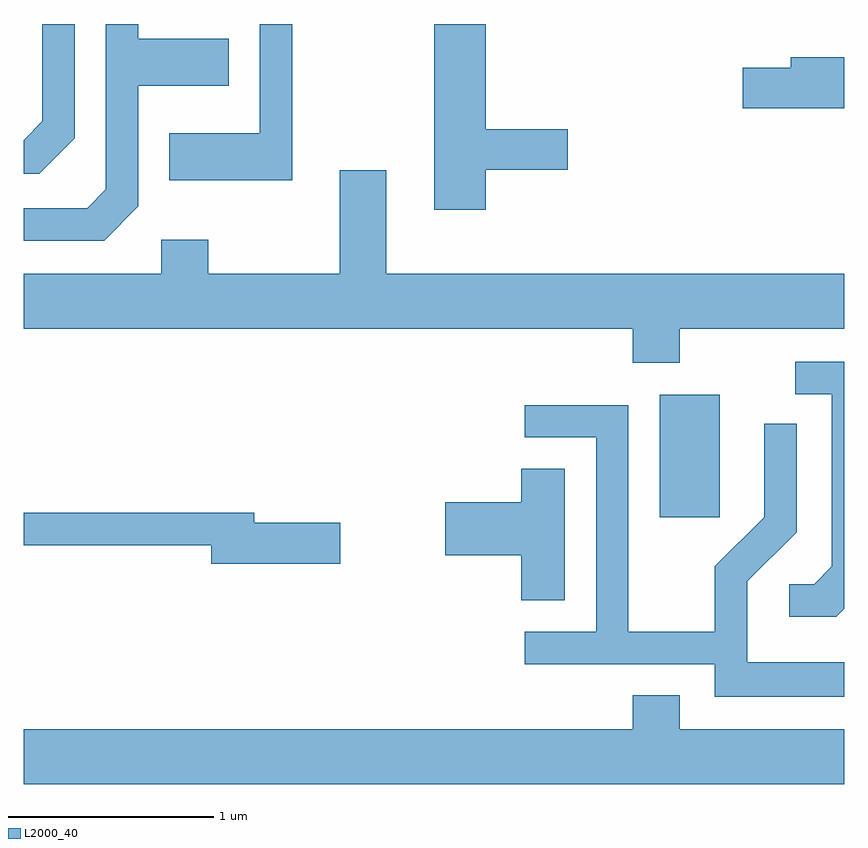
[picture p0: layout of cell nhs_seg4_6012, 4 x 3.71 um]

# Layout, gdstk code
import gdstk
lib = gdstk.Library(unit=1e-6, precision=1e-09)
def R(c, l, rs):  # rectangles x0, y0, x1, y1
    for r in rs: c.add(gdstk.rectangle(r[:2], r[2:], *l))
def P(c, l, *ps):  # polygons
    for p in ps: c.add(gdstk.Polygon(p, *l))
L2000_40 = (2000, 40)

nhs_seg4_6012 = lib.new_cell('nhs_seg4_6012')
R(nhs_seg4_6012, L2000_40, [(364.711,1311.576,365.004,1312.174)])
P(nhs_seg4_6012, L2000_40, [(362.169,1313.094),(362.169,1313.681),(362.609,1313.681),(362.609,1313.909),(362.169,1313.909),(362.169,1313.982),(362.011,1313.982),(362.011,1313.177),(361.919,1313.084),(361.611,1313.084),(361.611,1312.926),(362.002,1312.926)],
  [(361.859,1313.424),(361.859,1313.982),(361.701,1313.982),(361.701,1313.507),(361.611,1313.416),(361.611,1313.251),(361.687,1313.251)],
  [(363.864,1313.271),(364.264,1313.271),(364.264,1313.469),(363.864,1313.469),(363.864,1313.982),(363.611,1313.982),(363.611,1313.076),(363.864,1313.076)],
  [(362.919,1313.982),(362.761,1313.982),(362.761,1313.449),(362.321,1313.449),(362.321,1313.221),(362.919,1313.221)],
  [(365.611,1313.819),(365.351,1313.819),(365.351,1313.769),(365.116,1313.769),(365.116,1313.571),(365.611,1313.571)],
  [(364.809,1312.496),(365.611,1312.496),(365.611,1312.764),(363.379,1312.764),(363.379,1313.269),(363.151,1313.269),(363.151,1312.764),(362.509,1312.764),(362.509,1312.929),(362.281,1312.929),(362.281,1312.764),(361.611,1312.764),(361.611,1312.496),(364.581,1312.496),(364.581,1312.331),(364.809,1312.331)],
  [(365.611,1311.13),(365.611,1312.334),(365.373,1312.334),(365.373,1312.176),(365.551,1312.176),(365.551,1311.337),(365.464,1311.249),(365.343,1311.249),(365.343,1311.091),(365.572,1311.091)],
  [(365.611,1310.869),(365.139,1310.869),(365.139,1311.264),(365.379,1311.504),(365.379,1312.033),(365.221,1312.033),(365.221,1311.577),(364.981,1311.337),(364.981,1311.019),(364.559,1311.019),(364.559,1312.124),(364.053,1312.124),(364.053,1311.966),(364.401,1311.966),(364.401,1311.019),(364.053,1311.019),(364.053,1310.861),(364.981,1310.861),(364.981,1310.701),(365.611,1310.701)],
  [(364.249,1311.814),(364.036,1311.814),(364.036,1311.649),(363.666,1311.649),(363.666,1311.391),(364.036,1311.391),(364.036,1311.171),(364.249,1311.171)],
  [(363.154,1311.549),(362.734,1311.549),(362.734,1311.599),(361.611,1311.599),(361.611,1311.441),(362.526,1311.441),(362.526,1311.351),(363.154,1311.351)],
  [(365.611,1310.544),(364.809,1310.544),(364.809,1310.709),(364.581,1310.709),(364.581,1310.544),(361.611,1310.544),(361.611,1310.276),(365.611,1310.276)])

lib.write_gds('nhs_seg4_6012.gds')
